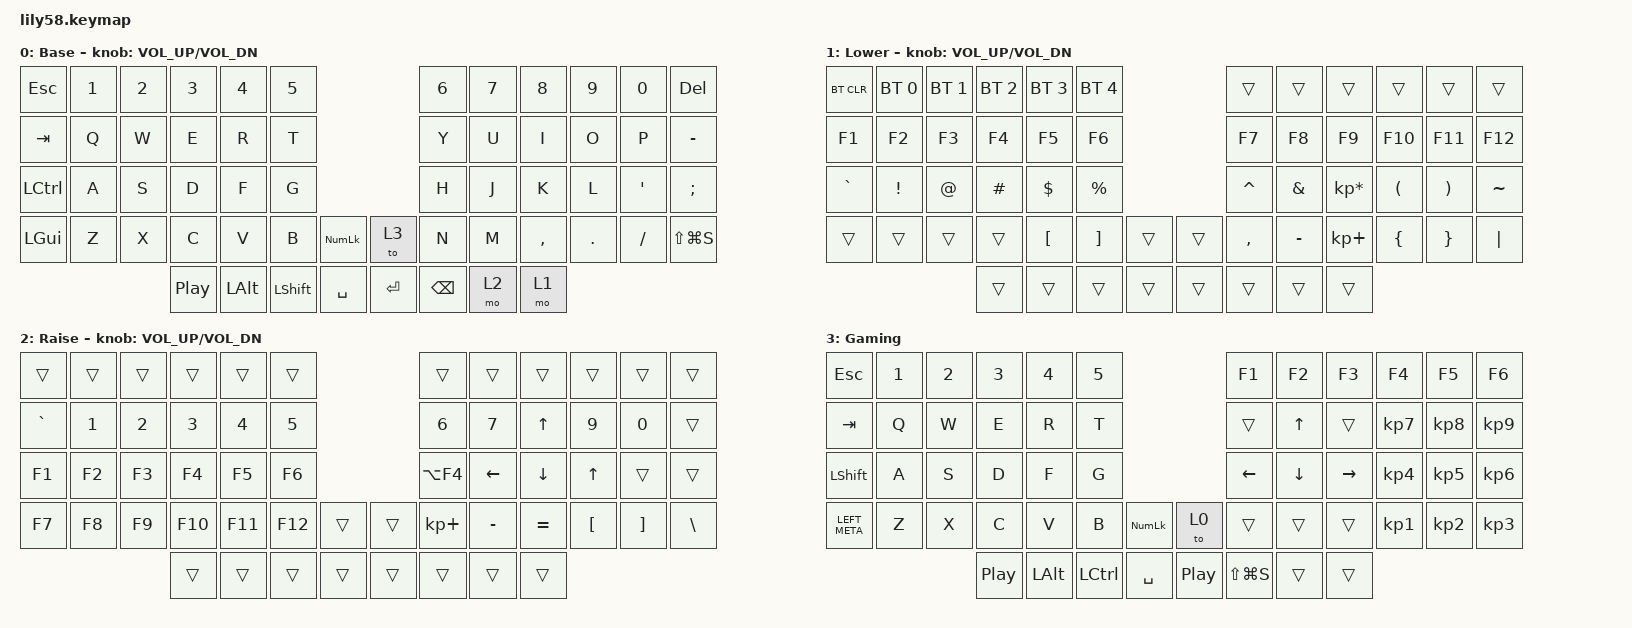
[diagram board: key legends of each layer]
/*
 * Copyright (c) 2020 The ZMK Contributors
 *
 * SPDX-License-Identifier: MIT
 */

#include <behaviors.dtsi>
#include <dt-bindings/zmk/bt.h>
#include <dt-bindings/zmk/keys.h>

/ {
    keymap {
        compatible = "zmk,keymap";

        default_layer {
            // ------------------------------------------------------------------------------------------------------------
            // |  ESC  |  1  |  2  |  3   |  4   |  5   |                   |  6   |  7    |  8    |  9   |   0   |   `   |
            // |  TAB  |  Q  |  W  |  E   |  R   |  T   |                   |  Y   |  U    |  I    |  O   |   P   |   -   |
            // |  CTRL |  A  |  S  |  D   |  F   |  G   |                   |  H   |  J    |  K    |  L   |   ;   |   '   |
            // | SHIFT |  Z  |  X  |  C   |  V   |  B   |   "["  |  |  "]"  |  N   |  M    |  ,    |  .   |   /   | SHIFT |
            //                     | ALT  | GUI  | LOWER|  SPACE |  | ENTER | RAISE| BSPC  | GUI   |

            display-name = "Base";
            bindings = <
&kp ESC       &kp N1  &kp N2  &kp N3            &kp N4        &kp N5                                 &kp N6         &kp N7  &kp N8     &kp N9   &kp N0     &kp DELETE
&kp TAB       &kp Q   &kp W   &kp E             &kp R         &kp T                                  &kp Y          &kp U   &kp I      &kp O    &kp P      &kp MINUS
&kp LCTRL     &kp A   &kp S   &kp D             &kp F         &kp G                                  &kp H          &kp J   &kp K      &kp L    &kp SQT    &kp SEMICOLON
&kp LEFT_GUI  &kp Z   &kp X   &kp C             &kp V         &kp B           &kp KP_NUM    &to 3    &kp N          &kp M   &kp COMMA  &kp DOT  &kp SLASH  &kp LS(LG(S))
                              &kp C_PLAY_PAUSE  &kp LEFT_ALT  &kp LEFT_SHIFT  &kp SPACE     &kp RET  &kp BACKSPACE  &mo 2   &mo 1
            >;

            sensor-bindings = <&inc_dec_kp C_VOL_UP C_VOL_DN>;
        };

        lower_layer {
            // ------------------------------------------------------------------------------------------------------------
            // | BTCLR | BT1 | BT2 |  BT3 |  BT4 |  BT5 |                   |      |       |       |      |       |       |
            // |  F1   |  F2 |  F3 |  F4  |  F5  |  F6  |                   |  F7  |  F8   |  F9   |  F10 |  F11  |  F12  |
            // |   `   |  !  |  @  |  #   |  $   |  %   |                   |  ^   |  &    |  *    |  (   |   )   |   ~   |
            // |       |     |     |      |      |      |        |  |       |      |  _    |  +    |  {   |   }   |  "|"  |
            //                     |      |      |      |        |  |       |      |       |       |

            display-name = "Lower";
            bindings = <
&bt BT_CLR  &bt BT_SEL 0  &bt BT_SEL 1  &bt BT_SEL 2  &bt BT_SEL 3      &bt BT_SEL 4                         &trans     &trans     &trans           &trans    &trans    &trans
&kp F1      &kp F2        &kp F3        &kp F4        &kp F5            &kp F6                               &kp F7     &kp F8     &kp F9           &kp F10   &kp F11   &kp F12
&kp GRAVE   &kp EXCL      &kp AT        &kp HASH      &kp DOLLAR        &kp PRCNT                            &kp CARET  &kp AMPS   &kp KP_MULTIPLY  &kp LPAR  &kp RPAR  &kp TILDE
&trans      &trans        &trans        &trans        &kp LEFT_BRACKET  &kp RIGHT_BRACKET  &trans    &trans  &kp COMMA  &kp MINUS  &kp KP_PLUS      &kp LBRC  &kp RBRC  &kp PIPE
                                        &trans        &trans            &trans             &trans    &trans  &trans     &trans     &trans
            >;

            sensor-bindings = <&inc_dec_kp C_VOL_UP C_VOL_DN>;
        };

        raise_layer {
            // ------------------------------------------------------------------------------------------------------------
            // |       |     |     |      |      |      |                   |      |       |       |      |       |       |
            // |   `   |  1  |  2  |  3   |  4   |  5   |                   |  6   |   7   |   8   |  9   |   0   |       |
            // |   F1  |  F2 |  F3 |  F4  |  F5  |  F6  |                   |      |   <-  |   v   |  ^   |  ->   |       |
            // |   F7  |  F8 |  F9 |  F10 |  F11 |  F12 |        |  |       |  +   |   -   |   =   |  [   |   ]   |   \   |
            //                     |      |      |      |        |  |       |      |       |       |

            display-name = "Raise";
            bindings = <
&trans     &trans  &trans  &trans   &trans   &trans                     &trans       &trans     &trans        &trans    &trans    &trans
&kp GRAVE  &kp N1  &kp N2  &kp N3   &kp N4   &kp N5                     &kp N6       &kp N7     &kp UP_ARROW  &kp N9    &kp N0    &trans
&kp F1     &kp F2  &kp F3  &kp F4   &kp F5   &kp F6                     &kp LA(F4)   &kp LEFT   &kp DOWN      &kp UP    &trans    &trans
&kp F7     &kp F8  &kp F9  &kp F10  &kp F11  &kp F12  &trans    &trans  &kp KP_PLUS  &kp MINUS  &kp EQUAL     &kp LBKT  &kp RBKT  &kp BSLH
                           &trans   &trans   &trans   &trans    &trans  &trans       &trans     &trans
            >;

            sensor-bindings = <&inc_dec_kp C_VOL_UP C_VOL_DN>;
        };

        Gaming {
            bindings = <
&kp ESC        &kp N1  &kp N2  &kp N3            &kp N4    &kp N5                                     &kp F1         &kp F2          &kp F3           &kp F4           &kp F5           &kp F6
&kp TAB        &kp Q   &kp W   &kp E             &kp R     &kp T                                      &trans         &kp UP_ARROW    &trans           &kp KP_NUMBER_7  &kp KP_NUMBER_8  &kp KP_NUMBER_9
&kp LSHFT      &kp A   &kp S   &kp D             &kp F     &kp G                                      &kp LEFT       &kp DOWN_ARROW  &kp RIGHT_ARROW  &kp KP_NUMBER_4  &kp KP_NUMBER_5  &kp KP_NUMBER_6
&kp LEFT_META  &kp Z   &kp X   &kp C             &kp V     &kp B      &kp KP_NUM    &to 0             &trans         &trans          &trans           &kp KP_NUMBER_1  &kp KP_NUMBER_2  &kp KP_NUMBER_3
                               &kp C_PLAY_PAUSE  &kp LALT  &kp LCTRL  &kp SPACE     &kp C_PLAY_PAUSE  &kp LS(LG(S))  &trans          &trans
            >;
        };
    };
};
